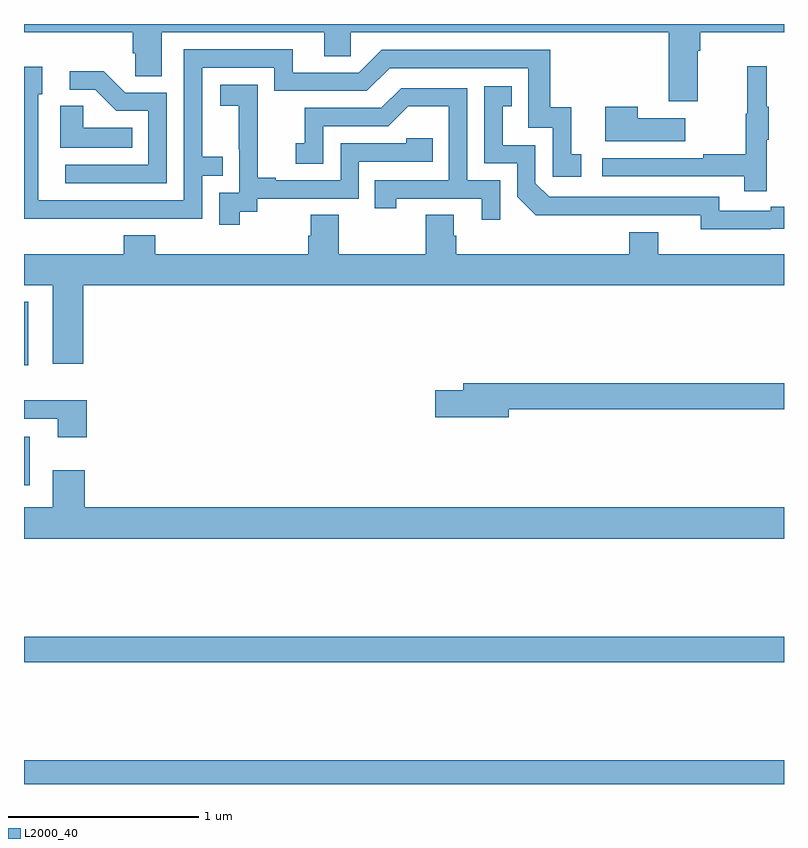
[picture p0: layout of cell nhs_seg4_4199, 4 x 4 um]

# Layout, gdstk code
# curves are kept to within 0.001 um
import gdstk
lib = gdstk.Library(unit=1e-6, precision=1e-09)
def R(c, l, rs):  # rectangles x0, y0, x1, y1
    for r in rs: c.add(gdstk.rectangle(r[:2], r[2:], *l))
def P(c, l, *ps):  # polygons
    for p in ps: c.add(gdstk.Polygon(p, *l))
L2000_40 = (2000, 40)

nhs_seg4_4199 = lib.new_cell('nhs_seg4_4199')
R(nhs_seg4_4199, L2000_40, [(335,756.9,339,757.024), (335,757.54,339,757.676), (335,758.472,335.029,758.727), (335,759.104,335.023,759.439)])
P(nhs_seg4_4199, L2000_40, [(338.545,760.76),(338.558,760.76),(338.558,760.856),(339,760.856),(339,760.9),(335,760.9),(335,760.856),(335.573,760.856),(335.573,760.747),(335.586,760.747),(335.586,760.624),(335.725,760.624),(335.725,760.856),(336.581,760.856),(336.581,760.729),(336.72,760.729),(336.72,760.856),(338.393,760.856),(338.393,760.494),(338.545,760.494)],
  [(335.441,759.876),(335.937,759.876),(335.937,760.101),(336.047,760.101),(336.047,760.202),(335.937,760.202),(335.937,760.671),(336.318,760.671),(336.318,760.548),(336.804,760.548),(336.924,760.668),(337.653,760.668),(337.653,760.353),(337.782,760.353),(337.782,760.095),(337.933,760.095),(337.933,760.215),(337.88,760.215),(337.88,760.462),(337.769,760.462),(337.769,760.764),(336.882,760.764),(336.762,760.644),(336.415,760.644),(336.415,760.767),(335.841,760.767),(335.841,759.972),(335.076,759.972),(335.076,760.53),(335.095,760.53),(335.095,760.675),(335,760.675),(335,759.875)],
  [(338.909,760.291),(338.92,760.291),(338.92,760.465),(338.909,760.465),(338.909,760.678),(338.806,760.678),(338.806,760.428),(338.799,760.428),(338.799,760.214),(338.575,760.214),(338.575,760.194),(338.043,760.194),(338.043,760.098),(338.791,760.098),(338.791,760.02),(338.909,760.02)],
  [(335.751,760.539),(335.532,760.539),(335.419,760.652),(335.241,760.652),(335.241,760.554),(335.375,760.554),(335.486,760.443),(335.655,760.443),(335.655,760.158),(335.217,760.158),(335.217,760.062),(335.751,760.062)],
  [(336.136,759.913),(336.228,759.913),(336.228,759.981),(336.762,759.981),(336.762,760.176),(337.151,760.176),(337.151,760.299),(337.011,760.299),(337.011,760.272),(336.666,760.272),(336.666,760.077),(336.325,760.077),(336.325,760.09),(336.23,760.09),(336.23,760.373),(336.231,760.373),(336.231,760.579),(336.033,760.579),(336.033,760.469),(336.131,760.469),(336.131,760.241),(336.132,760.241),(336.132,760.011),(336.027,760.011),(336.027,759.843),(336.136,759.843)],
  [(338.93,759.822),(339,759.822),(339,759.938),(338.93,759.938),(338.93,759.918),(338.658,759.918),(338.658,759.99),(337.764,759.99),(337.692,760.062),(337.692,760.263),(337.519,760.263),(337.519,760.467),(337.568,760.467),(337.568,760.573),(337.422,760.573),(337.422,760.167),(337.596,760.167),(337.596,759.99),(337.694,759.893),(338.562,759.894),(338.562,759.821)],
  [(337.506,760.077),(337.332,760.077),(337.332,760.563),(336.986,760.563),(336.881,760.458),(336.478,760.458),(336.478,760.273),(336.429,760.273),(336.429,760.164),(336.576,760.164),(336.576,760.362),(336.918,760.362),(337.022,760.466),(337.236,760.466),(337.236,760.077),(336.847,760.077),(336.847,759.93),(336.958,759.93),(336.958,759.981),(337.409,759.981),(337.409,759.87),(337.506,759.87)],
  [(335.57,760.354),(335.313,760.354),(335.313,760.469),(335.192,760.469),(335.192,760.25),(335.57,760.25)],
  [(338.479,760.405),(338.231,760.405),(338.231,760.465),(338.06,760.465),(338.06,760.283),(338.479,760.283)],
  [(335.311,759.524),(339,759.524),(339,759.688),(338.338,759.688),(338.338,759.805),(338.186,759.805),(338.186,759.688),(337.274,759.688),(337.274,759.786),(337.261,759.786),(337.261,759.896),(337.114,759.896),(337.114,759.688),(336.657,759.688),(336.657,759.896),(336.509,759.896),(336.509,759.786),(336.497,759.786),(336.497,759.688),(335.69,759.688),(335.69,759.787),(335.525,759.787),(335.525,759.688),(335,759.688),(335,759.524),(335.15,759.524),(335.15,759.111),(335.311,759.111)],
  [(337.552,758.872),(339,758.872),(339,759.008),(337.313,759.008),(337.313,758.972),(337.164,758.972),(337.164,758.83),(337.552,758.83)],
  [(335.33,758.921),(335,758.921),(335,758.823),(335.177,758.823),(335.177,758.724),(335.33,758.724)],
  [(339,758.356),(335.321,758.356),(335.321,758.551),(335.15,758.551),(335.15,758.356),(335,758.356),(335,758.192),(339,758.192)])

lib.write_gds('nhs_seg4_4199.gds')
